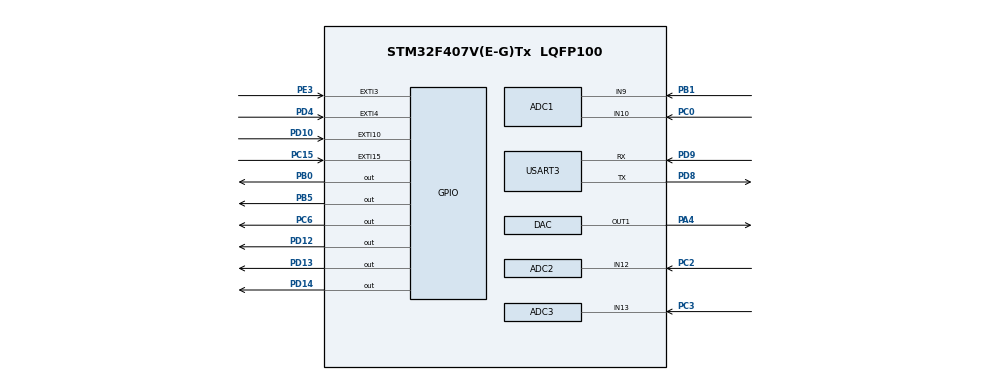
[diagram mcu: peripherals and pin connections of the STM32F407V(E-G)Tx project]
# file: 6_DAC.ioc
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ADC1.Channel-4\#ChannelRegularConversion=ADC_CHANNEL_9
ADC1.Channel-5\#ChannelRegularConversion=ADC_CHANNEL_10
ADC1.ContinuousConvMode=DISABLE
ADC1.DiscontinuousConvMode=ENABLE
ADC1.NbrOfConversion=2
ADC1.NbrOfConversionFlag=1
ADC1.Rank-4\#ChannelRegularConversion=1
ADC1.Rank-5\#ChannelRegularConversion=2
ADC1.SamplingTime-4\#ChannelRegularConversion=ADC_SAMPLETIME_15CYCLES
ADC1.SamplingTime-5\#ChannelRegularConversion=ADC_SAMPLETIME_15CYCLES
ADC1.ScanConvMode=ENABLE
ADC1.master=1
ADC2.Channel-0\#ChannelRegularConversion=ADC_CHANNEL_12
ADC2.DiscontinuousConvMode=ENABLE
ADC2.NbrOfConversionFlag=1
ADC2.Rank-0\#ChannelRegularConversion=1
ADC2.SamplingTime-0\#ChannelRegularConversion=ADC_SAMPLETIME_15CYCLES
ADC2.ScanConvMode=ENABLE
ADC3.Channel-2\#ChannelRegularConversion=ADC_CHANNEL_13
ADC3.ContinuousConvMode=ENABLE
ADC3.DMAContinuousRequests=ENABLE
ADC3.EOCSelection=ADC_EOC_SEQ_CONV
ADC3.NbrOfConversionFlag=1
ADC3.Rank-2\#ChannelRegularConversion=1
ADC3.SamplingTime-2\#ChannelRegularConversion=ADC_SAMPLETIME_84CYCLES
ADC3.ScanConvMode=ENABLE
Dma.ADC3.1.Direction=DMA_PERIPH_TO_MEMORY
Dma.ADC3.1.FIFOMode=DMA_FIFOMODE_DISABLE
Dma.ADC3.1.Instance=DMA2_Stream0
Dma.ADC3.1.MemDataAlignment=DMA_MDATAALIGN_HALFWORD
Dma.ADC3.1.MemInc=DMA_MINC_ENABLE
Dma.ADC3.1.Mode=DMA_CIRCULAR
Dma.ADC3.1.PeriphDataAlignment=DMA_PDATAALIGN_HALFWORD
Dma.ADC3.1.PeriphInc=DMA_PINC_DISABLE
Dma.ADC3.1.Priority=DMA_PRIORITY_LOW
Dma.Request0=USART3_RX
Dma.Request1=ADC3
Dma.USART3_RX.0.Direction=DMA_PERIPH_TO_MEMORY
Dma.USART3_RX.0.FIFOMode=DMA_FIFOMODE_DISABLE
Dma.USART3_RX.0.Instance=DMA1_Stream1
Dma.USART3_RX.0.MemDataAlignment=DMA_MDATAALIGN_BYTE
Dma.USART3_RX.0.MemInc=DMA_MINC_ENABLE
Dma.USART3_RX.0.Mode=DMA_NORMAL
Dma.USART3_RX.0.PeriphDataAlignment=DMA_PDATAALIGN_BYTE
Dma.USART3_RX.0.PeriphInc=DMA_PINC_DISABLE
Dma.USART3_RX.0.Priority=DMA_PRIORITY_LOW
Mcu.Family=STM32F4
Mcu.Name=STM32F407V(E-G)Tx
Mcu.Package=LQFP100
NVIC.ADC_IRQn=true\:0\:0\:false\:false\:true\:true\:true\:true
NVIC.DMA1_Stream1_IRQn=true\:0\:0\:false\:false\:true\:false\:true\:true
NVIC.DMA2_Stream0_IRQn=true\:0\:0\:false\:false\:true\:false\:true\:true
NVIC.EXTI15_10_IRQn=true\:0\:0\:false\:false\:true\:true\:true\:true
NVIC.EXTI3_IRQn=true\:0\:0\:false\:false\:true\:true\:true\:true
NVIC.EXTI4_IRQn=true\:0\:0\:false\:false\:true\:true\:true\:true
NVIC.PriorityGroup=NVIC_PRIORITYGROUP_4
NVIC.TIM2_IRQn=true\:0\:0\:false\:false\:true\:true\:true\:true
NVIC.TIM7_IRQn=true\:0\:0\:false\:false\:true\:true\:true\:true
NVIC.USART3_IRQn=true\:0\:0\:false\:false\:true\:true\:true\:true
PA4.Signal=COMP_DAC1_group
PB0.PinState=GPIO_PIN_SET
PB0.Signal=GPIO_Output
PB1.Signal=ADCx_IN9
PB5.PinState=GPIO_PIN_SET
PB5.Signal=GPIO_Output
PC0.Signal=ADCx_IN10
PC15-OSC32_OUT.Signal=GPXTI15
PC2.Signal=ADCx_IN12
PC3.Signal=ADCx_IN13
PC6.PinState=GPIO_PIN_SET
PC6.Signal=GPIO_Output
PD10.Signal=GPXTI10
PD12.PinState=GPIO_PIN_SET
PD12.Signal=GPIO_Output
PD13.PinState=GPIO_PIN_SET
PD13.Signal=GPIO_Output
PD14.PinState=GPIO_PIN_SET
PD14.Signal=GPIO_Output
PD4.Signal=GPXTI4
PD8.Mode=Asynchronous
PD8.Signal=USART3_TX
PD9.Mode=Asynchronous
PD9.Signal=USART3_RX
PE3.Signal=GPXTI3
PH0-OSC_IN.Mode=HSE-External-Oscillator
PH0-OSC_IN.Signal=RCC_OSC_IN
PH1-OSC_OUT.Mode=HSE-External-Oscillator
PH1-OSC_OUT.Signal=RCC_OSC_OUT
ProjectManager.HeapSize=0x200
ProjectManager.StackSize=0x400
ProjectManager.TargetToolchain=CMake
RCC.48MHZClocksFreq_Value=84000000
RCC.AHBFreq_Value=168000000
RCC.APB1CLKDivider=RCC_HCLK_DIV4
RCC.APB1Freq_Value=42000000
RCC.APB1TimFreq_Value=84000000
RCC.APB2CLKDivider=RCC_HCLK_DIV2
RCC.APB2Freq_Value=84000000
RCC.APB2TimFreq_Value=168000000
RCC.CortexFreq_Value=168000000
RCC.HCLKFreq_Value=168000000
RCC.HSE_VALUE=8000000
RCC.HSI_VALUE=16000000
RCC.LSE_VALUE=32768
RCC.PLLM=4
RCC.PLLN=168
RCC.PLLSourceVirtual=RCC_PLLSOURCE_HSE
RCC.SYSCLKFreq_VALUE=168000000
RCC.SYSCLKSource=RCC_SYSCLKSOURCE_PLLCLK
RCC.VCOOutputFreq_Value=336000000
SH.ADCx_IN10.0=ADC1_IN10,IN10
SH.ADCx_IN12.0=ADC2_IN12,IN12
SH.ADCx_IN13.0=ADC3_IN13,IN13
SH.ADCx_IN9.0=ADC1_IN9,IN9
SH.COMP_DAC1_group.0=DAC_OUT1,DAC_OUT1
TIM2.Period=83
TIM2.Prescaler=0
TIM7.AutoReloadPreload=TIM_AUTORELOAD_PRELOAD_DISABLE
TIM7.Period=9999
TIM7.Prescaler=839
USART3.VirtualMode=VM_ASYNC
VP_TIM2_VS_ClockSourceINT.Mode=Internal
VP_TIM7_VS_ClockSourceINT.Mode=Enable_Timer
board=custom

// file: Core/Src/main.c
/* USER CODE BEGIN Header */
/**
 ******************************************************************************
 * @file           : main.c
 * @brief          : Main program body
 ******************************************************************************
 * @attention
 *
 * Copyright (c) 2024 STMicroelectronics.
 * All rights reserved.
 *
 * This software is licensed under terms that can be found in the LICENSE file
 * in the root directory of this software component.
 * If no LICENSE file comes with this software, it is provided AS-IS.
 *
 ******************************************************************************
 */
/* USER CODE END Header */
#include "main.h"

/* USER CODE BEGIN Includes */
#include <math.h>
/* USER CODE END Includes */

/* USER CODE BEGIN PD */
#define PI 3.141592
#define SAMPLES 1000000.0
#define MAX_X SAMPLES / 2 - 1
/* USER CODE END PD */

/* USER CODE BEGIN PV */
uint8_t tim2_update = 0;

uint16_t adc3_val[1];
/* USER CODE END PV */

void SystemClock_Config(void);
static void MX_GPIO_Init(void);
static void MX_DMA_Init(void);
static void MX_USART3_UART_Init(void);
static void MX_TIM7_Init(void);
static void MX_TIM2_Init(void);
static void MX_ADC1_Init(void);
static void MX_ADC2_Init(void);
static void MX_ADC3_Init(void);
static void MX_DAC_Init(void);

int main(void) {

  /* MCU Configuration--------------------------------------------------------*/

  /* Reset of all peripherals, Initializes the Flash interface and the Systick.
   */
  LL_APB2_GRP1_EnableClock(LL_APB2_GRP1_PERIPH_SYSCFG);
  LL_APB1_GRP1_EnableClock(LL_APB1_GRP1_PERIPH_PWR);

  /* System interrupt init*/
  NVIC_SetPriorityGrouping(NVIC_PRIORITYGROUP_4);

  /* SysTick_IRQn interrupt configuration */
  NVIC_SetPriority(SysTick_IRQn,
                   NVIC_EncodePriority(NVIC_GetPriorityGrouping(), 15, 0));

  /* Configure the system clock */
  SystemClock_Config();

  /* Initialize all configured peripherals */
  MX_GPIO_Init();
  MX_DMA_Init();
  MX_USART3_UART_Init();
  MX_TIM7_Init();
  MX_TIM2_Init();
  MX_ADC1_Init();
  MX_ADC2_Init();
  MX_ADC3_Init();
  MX_DAC_Init();
  /* USER CODE BEGIN 2 */
  //= ADC DMA code
  LL_DMA_ConfigAddresses(
      DMA2, LL_DMA_STREAM_0,
      LL_ADC_DMA_GetRegAddr(ADC3, LL_ADC_DMA_REG_REGULAR_DATA),
      (uint32_t)adc3_val, LL_DMA_DIRECTION_PERIPH_TO_MEMORY);

  LL_DMA_SetDataLength(DMA2, LL_DMA_STREAM_0, 1);
  LL_DMA_EnableIT_TC(DMA2, LL_DMA_STREAM_0);
  LL_DMA_EnableStream(DMA2, LL_DMA_STREAM_0);
  LL_ADC_Enable(ADC3);
  LL_ADC_REG_StartConversionSWStart(ADC3);

  //= DAC code
  LL_DAC_Enable(DAC, LL_DAC_CHANNEL_1);

  LL_TIM_EnableIT_UPDATE(TIM2);
  LL_TIM_EnableCounter(TIM2);

  float x = 0;
  uint16_t cnt = 0;
  uint32_t sin_point = 0;
  /* USER CODE END 2 */

  /* Infinite loop */
  /* USER CODE BEGIN WHILE */
  while (1) {
    //= frequency = 1ms * x (x < (samples / 2), ex) 1000 sample => x < 500)
    x = (float)adc3_val[0] / 4096.0 * MAX_X;

    if (tim2_update) {
      sin_point = (uint32_t)rint(sinf((2 * PI * x * cnt / SAMPLES) + 1) * 2048);
      sin_point = sin_point < 4096 ? sin_point : 4095;

      LL_DAC_ConvertData12RightAligned(DAC, LL_DAC_CHANNEL_1, sin_point);
      cnt++;
      if (cnt > 999) cnt = 0;
    }
    /* USER CODE END WHILE */

  }
}

void SystemClock_Config(void) {
  LL_FLASH_SetLatency(LL_FLASH_LATENCY_5);
  while (LL_FLASH_GetLatency() != LL_FLASH_LATENCY_5) {
  }
  LL_PWR_SetRegulVoltageScaling(LL_PWR_REGU_VOLTAGE_SCALE1);
  LL_RCC_HSE_Enable();

  /* Wait till HSE is ready */
  while (LL_RCC_HSE_IsReady() != 1) {
  }
  LL_RCC_PLL_ConfigDomain_SYS(LL_RCC_PLLSOURCE_HSE, LL_RCC_PLLM_DIV_4, 168,
                              LL_RCC_PLLP_DIV_2);
  LL_RCC_PLL_Enable();

  /* Wait till PLL is ready */
  while (LL_RCC_PLL_IsReady() != 1) {
  }
  while (LL_PWR_IsActiveFlag_VOS() == 0) {
  }
  LL_RCC_SetAHBPrescaler(LL_RCC_SYSCLK_DIV_1);
  LL_RCC_SetAPB1Prescaler(LL_RCC_APB1_DIV_4);
  LL_RCC_SetAPB2Prescaler(LL_RCC_APB2_DIV_2);
  LL_RCC_SetSysClkSource(LL_RCC_SYS_CLKSOURCE_PLL);

  /* Wait till System clock is ready */
  while (LL_RCC_GetSysClkSource() != LL_RCC_SYS_CLKSOURCE_STATUS_PLL) {
  }
  LL_Init1msTick(168000000);
  LL_SetSystemCoreClock(168000000);
}

static void MX_ADC1_Init(void) {

  LL_ADC_InitTypeDef ADC_InitStruct = {0};
  LL_ADC_REG_InitTypeDef ADC_REG_InitStruct = {0};
  LL_ADC_CommonInitTypeDef ADC_CommonInitStruct = {0};

  LL_GPIO_InitTypeDef GPIO_InitStruct = {0};

  /* Peripheral clock enable */
  LL_APB2_GRP1_EnableClock(LL_APB2_GRP1_PERIPH_ADC1);

  LL_AHB1_GRP1_EnableClock(LL_AHB1_GRP1_PERIPH_GPIOC);
  LL_AHB1_GRP1_EnableClock(LL_AHB1_GRP1_PERIPH_GPIOB);
  /**ADC1 GPIO Configuration
  PC0   ------> ADC1_IN10
  PB1   ------> ADC1_IN9
  */
  GPIO_InitStruct.Pin = LL_GPIO_PIN_0;
  GPIO_InitStruct.Mode = LL_GPIO_MODE_ANALOG;
  GPIO_InitStruct.Pull = LL_GPIO_PULL_NO;
  LL_GPIO_Init(GPIOC, &GPIO_InitStruct);

  GPIO_InitStruct.Pin = LL_GPIO_PIN_1;
  GPIO_InitStruct.Mode = LL_GPIO_MODE_ANALOG;
  GPIO_InitStruct.Pull = LL_GPIO_PULL_NO;
  LL_GPIO_Init(GPIOB, &GPIO_InitStruct);

  /* ADC1 interrupt Init */
  NVIC_SetPriority(ADC_IRQn,
                   NVIC_EncodePriority(NVIC_GetPriorityGrouping(), 0, 0));
  NVIC_EnableIRQ(ADC_IRQn);

  /** Common config
   */
  ADC_InitStruct.Resolution = LL_ADC_RESOLUTION_12B;
  ADC_InitStruct.DataAlignment = LL_ADC_DATA_ALIGN_RIGHT;
  ADC_InitStruct.SequencersScanMode = LL_ADC_SEQ_SCAN_ENABLE;
  LL_ADC_Init(ADC1, &ADC_InitStruct);
  ADC_REG_InitStruct.TriggerSource = LL_ADC_REG_TRIG_SOFTWARE;
  ADC_REG_InitStruct.SequencerLength = LL_ADC_REG_SEQ_SCAN_ENABLE_2RANKS;
  ADC_REG_InitStruct.SequencerDiscont = LL_ADC_REG_SEQ_DISCONT_1RANK;
  ADC_REG_InitStruct.ContinuousMode = LL_ADC_REG_CONV_SINGLE;
  ADC_REG_InitStruct.DMATransfer = LL_ADC_REG_DMA_TRANSFER_NONE;
  LL_ADC_REG_Init(ADC1, &ADC_REG_InitStruct);
  LL_ADC_REG_SetFlagEndOfConversion(ADC1, LL_ADC_REG_FLAG_EOC_UNITARY_CONV);
  ADC_CommonInitStruct.CommonClock = LL_ADC_CLOCK_SYNC_PCLK_DIV4;
  ADC_CommonInitStruct.Multimode = LL_ADC_MULTI_INDEPENDENT;
  LL_ADC_CommonInit(__LL_ADC_COMMON_INSTANCE(ADC1), &ADC_CommonInitStruct);

  /** Configure Regular Channel
   */
  LL_ADC_REG_SetSequencerRanks(ADC1, LL_ADC_REG_RANK_1, LL_ADC_CHANNEL_9);
  LL_ADC_SetChannelSamplingTime(ADC1, LL_ADC_CHANNEL_9,
                                LL_ADC_SAMPLINGTIME_15CYCLES);

  /** Configure Regular Channel
   */
  LL_ADC_REG_SetSequencerRanks(ADC1, LL_ADC_REG_RANK_2, LL_ADC_CHANNEL_10);
  LL_ADC_SetChannelSamplingTime(ADC1, LL_ADC_CHANNEL_10,
                                LL_ADC_SAMPLINGTIME_15CYCLES);
}

static void MX_ADC2_Init(void) {

  LL_ADC_InitTypeDef ADC_InitStruct = {0};
  LL_ADC_REG_InitTypeDef ADC_REG_InitStruct = {0};

  LL_GPIO_InitTypeDef GPIO_InitStruct = {0};

  /* Peripheral clock enable */
  LL_APB2_GRP1_EnableClock(LL_APB2_GRP1_PERIPH_ADC2);

  LL_AHB1_GRP1_EnableClock(LL_AHB1_GRP1_PERIPH_GPIOC);
  /**ADC2 GPIO Configuration
  PC2   ------> ADC2_IN12
  */
  GPIO_InitStruct.Pin = LL_GPIO_PIN_2;
  GPIO_InitStruct.Mode = LL_GPIO_MODE_ANALOG;
  GPIO_InitStruct.Pull = LL_GPIO_PULL_NO;
  LL_GPIO_Init(GPIOC, &GPIO_InitStruct);

  /* ADC2 interrupt Init */
  NVIC_SetPriority(ADC_IRQn,
                   NVIC_EncodePriority(NVIC_GetPriorityGrouping(), 0, 0));
  NVIC_EnableIRQ(ADC_IRQn);

  /** Common config
   */
  ADC_InitStruct.Resolution = LL_ADC_RESOLUTION_12B;
  ADC_InitStruct.DataAlignment = LL_ADC_DATA_ALIGN_RIGHT;
  ADC_InitStruct.SequencersScanMode = LL_ADC_SEQ_SCAN_ENABLE;
  LL_ADC_Init(ADC2, &ADC_InitStruct);
  ADC_REG_InitStruct.TriggerSource = LL_ADC_REG_TRIG_SOFTWARE;
  ADC_REG_InitStruct.SequencerLength = LL_ADC_REG_SEQ_SCAN_DISABLE;
  ADC_REG_InitStruct.SequencerDiscont = LL_ADC_REG_SEQ_DISCONT_1RANK;
  ADC_REG_InitStruct.ContinuousMode = LL_ADC_REG_CONV_SINGLE;
  ADC_REG_InitStruct.DMATransfer = LL_ADC_REG_DMA_TRANSFER_NONE;
  LL_ADC_REG_Init(ADC2, &ADC_REG_InitStruct);
  LL_ADC_REG_SetFlagEndOfConversion(ADC2, LL_ADC_REG_FLAG_EOC_UNITARY_CONV);

  /** Configure Regular Channel
   */
  LL_ADC_REG_SetSequencerRanks(ADC2, LL_ADC_REG_RANK_1, LL_ADC_CHANNEL_12);
  LL_ADC_SetChannelSamplingTime(ADC2, LL_ADC_CHANNEL_12,
                                LL_ADC_SAMPLINGTIME_15CYCLES);
}

static void MX_ADC3_Init(void) {

  LL_ADC_InitTypeDef ADC_InitStruct = {0};
  LL_ADC_REG_InitTypeDef ADC_REG_InitStruct = {0};

  LL_GPIO_InitTypeDef GPIO_InitStruct = {0};

  /* Peripheral clock enable */
  LL_APB2_GRP1_EnableClock(LL_APB2_GRP1_PERIPH_ADC3);

  LL_AHB1_GRP1_EnableClock(LL_AHB1_GRP1_PERIPH_GPIOC);
  /**ADC3 GPIO Configuration
  PC3   ------> ADC3_IN13
  */
  GPIO_InitStruct.Pin = LL_GPIO_PIN_3;
  GPIO_InitStruct.Mode = LL_GPIO_MODE_ANALOG;
  GPIO_InitStruct.Pull = LL_GPIO_PULL_NO;
  LL_GPIO_Init(GPIOC, &GPIO_InitStruct);

  /* ADC3 DMA Init */

  /* ADC3 Init */
  LL_DMA_SetChannelSelection(DMA2, LL_DMA_STREAM_0, LL_DMA_CHANNEL_2);

  LL_DMA_SetDataTransferDirection(DMA2, LL_DMA_STREAM_0,
                                  LL_DMA_DIRECTION_PERIPH_TO_MEMORY);

  LL_DMA_SetStreamPriorityLevel(DMA2, LL_DMA_STREAM_0, LL_DMA_PRIORITY_LOW);

  LL_DMA_SetMode(DMA2, LL_DMA_STREAM_0, LL_DMA_MODE_CIRCULAR);

  LL_DMA_SetPeriphIncMode(DMA2, LL_DMA_STREAM_0, LL_DMA_PERIPH_NOINCREMENT);

  LL_DMA_SetMemoryIncMode(DMA2, LL_DMA_STREAM_0, LL_DMA_MEMORY_INCREMENT);

  LL_DMA_SetPeriphSize(DMA2, LL_DMA_STREAM_0, LL_DMA_PDATAALIGN_HALFWORD);

  LL_DMA_SetMemorySize(DMA2, LL_DMA_STREAM_0, LL_DMA_MDATAALIGN_HALFWORD);

  LL_DMA_DisableFifoMode(DMA2, LL_DMA_STREAM_0);

  /* ADC3 interrupt Init */
  NVIC_SetPriority(ADC_IRQn,
                   NVIC_EncodePriority(NVIC_GetPriorityGrouping(), 0, 0));
  NVIC_EnableIRQ(ADC_IRQn);

  /** Common config
   */
  ADC_InitStruct.Resolution = LL_ADC_RESOLUTION_12B;
  ADC_InitStruct.DataAlignment = LL_ADC_DATA_ALIGN_RIGHT;
  ADC_InitStruct.SequencersScanMode = LL_ADC_SEQ_SCAN_ENABLE;
  LL_ADC_Init(ADC3, &ADC_InitStruct);
  ADC_REG_InitStruct.TriggerSource = LL_ADC_REG_TRIG_SOFTWARE;
  ADC_REG_InitStruct.SequencerLength = LL_ADC_REG_SEQ_SCAN_DISABLE;
  ADC_REG_InitStruct.SequencerDiscont = LL_ADC_REG_SEQ_DISCONT_DISABLE;
  ADC_REG_InitStruct.ContinuousMode = LL_ADC_REG_CONV_CONTINUOUS;
  ADC_REG_InitStruct.DMATransfer = LL_ADC_REG_DMA_TRANSFER_UNLIMITED;
  LL_ADC_REG_Init(ADC3, &ADC_REG_InitStruct);
  LL_ADC_REG_SetFlagEndOfConversion(ADC3, LL_ADC_REG_FLAG_EOC_SEQUENCE_CONV);

  /** Configure Regular Channel
   */
  LL_ADC_REG_SetSequencerRanks(ADC3, LL_ADC_REG_RANK_1, LL_ADC_CHANNEL_13);
  LL_ADC_SetChannelSamplingTime(ADC3, LL_ADC_CHANNEL_13,
                                LL_ADC_SAMPLINGTIME_84CYCLES);
}

static void MX_DAC_Init(void) {

  LL_DAC_InitTypeDef DAC_InitStruct = {0};

  LL_GPIO_InitTypeDef GPIO_InitStruct = {0};

  /* Peripheral clock enable */
  LL_APB1_GRP1_EnableClock(LL_APB1_GRP1_PERIPH_DAC1);

  LL_AHB1_GRP1_EnableClock(LL_AHB1_GRP1_PERIPH_GPIOA);
  /**DAC GPIO Configuration
  PA4   ------> DAC_OUT1
  */
  GPIO_InitStruct.Pin = LL_GPIO_PIN_4;
  GPIO_InitStruct.Mode = LL_GPIO_MODE_ANALOG;
  GPIO_InitStruct.Pull = LL_GPIO_PULL_NO;
  LL_GPIO_Init(GPIOA, &GPIO_InitStruct);

  /** DAC channel OUT1 config
   */
  DAC_InitStruct.TriggerSource = LL_DAC_TRIG_SOFTWARE;
  DAC_InitStruct.WaveAutoGeneration = LL_DAC_WAVE_AUTO_GENERATION_NONE;
  DAC_InitStruct.OutputBuffer = LL_DAC_OUTPUT_BUFFER_ENABLE;
  LL_DAC_Init(DAC, LL_DAC_CHANNEL_1, &DAC_InitStruct);
}

static void MX_TIM2_Init(void) {

  LL_TIM_InitTypeDef TIM_InitStruct = {0};

  /* Peripheral clock enable */
  LL_APB1_GRP1_EnableClock(LL_APB1_GRP1_PERIPH_TIM2);

  /* TIM2 interrupt Init */
  NVIC_SetPriority(TIM2_IRQn,
                   NVIC_EncodePriority(NVIC_GetPriorityGrouping(), 0, 0));
  NVIC_EnableIRQ(TIM2_IRQn);

  TIM_InitStruct.Prescaler = 0;
  TIM_InitStruct.CounterMode = LL_TIM_COUNTERMODE_UP;
  TIM_InitStruct.Autoreload = 83;
  TIM_InitStruct.ClockDivision = LL_TIM_CLOCKDIVISION_DIV1;
  LL_TIM_Init(TIM2, &TIM_InitStruct);
  LL_TIM_DisableARRPreload(TIM2);
  LL_TIM_SetClockSource(TIM2, LL_TIM_CLOCKSOURCE_INTERNAL);
  LL_TIM_SetTriggerOutput(TIM2, LL_TIM_TRGO_RESET);
  LL_TIM_DisableMasterSlaveMode(TIM2);
}

static void MX_TIM7_Init(void) {

  LL_TIM_InitTypeDef TIM_InitStruct = {0};

  /* Peripheral clock enable */
  LL_APB1_GRP1_EnableClock(LL_APB1_GRP1_PERIPH_TIM7);

  /* TIM7 interrupt Init */
  NVIC_SetPriority(TIM7_IRQn,
                   NVIC_EncodePriority(NVIC_GetPriorityGrouping(), 0, 0));
  NVIC_EnableIRQ(TIM7_IRQn);

  TIM_InitStruct.Prescaler = 839;
  TIM_InitStruct.CounterMode = LL_TIM_COUNTERMODE_UP;
  TIM_InitStruct.Autoreload = 9999;
  LL_TIM_Init(TIM7, &TIM_InitStruct);
  LL_TIM_DisableARRPreload(TIM7);
  LL_TIM_SetTriggerOutput(TIM7, LL_TIM_TRGO_RESET);
  LL_TIM_DisableMasterSlaveMode(TIM7);
}

static void MX_USART3_UART_Init(void) {

  LL_USART_InitTypeDef USART_InitStruct = {0};

  LL_GPIO_InitTypeDef GPIO_InitStruct = {0};

  /* Peripheral clock enable */
  LL_APB1_GRP1_EnableClock(LL_APB1_GRP1_PERIPH_USART3);

  LL_AHB1_GRP1_EnableClock(LL_AHB1_GRP1_PERIPH_GPIOD);
  /**USART3 GPIO Configuration
  PD8   ------> USART3_TX
  PD9   ------> USART3_RX
  */
  GPIO_InitStruct.Pin = LL_GPIO_PIN_8 | LL_GPIO_PIN_9;
  GPIO_InitStruct.Mode = LL_GPIO_MODE_ALTERNATE;
  GPIO_InitStruct.Speed = LL_GPIO_SPEED_FREQ_VERY_HIGH;
  GPIO_InitStruct.OutputType = LL_GPIO_OUTPUT_PUSHPULL;
  GPIO_InitStruct.Pull = LL_GPIO_PULL_NO;
  GPIO_InitStruct.Alternate = LL_GPIO_AF_7;
  LL_GPIO_Init(GPIOD, &GPIO_InitStruct);

  /* USART3 DMA Init */

  /* USART3_RX Init */
  LL_DMA_SetChannelSelection(DMA1, LL_DMA_STREAM_1, LL_DMA_CHANNEL_4);

  LL_DMA_SetDataTransferDirection(DMA1, LL_DMA_STREAM_1,
                                  LL_DMA_DIRECTION_PERIPH_TO_MEMORY);

  LL_DMA_SetStreamPriorityLevel(DMA1, LL_DMA_STREAM_1, LL_DMA_PRIORITY_LOW);

  LL_DMA_SetMode(DMA1, LL_DMA_STREAM_1, LL_DMA_MODE_NORMAL);

  LL_DMA_SetPeriphIncMode(DMA1, LL_DMA_STREAM_1, LL_DMA_PERIPH_NOINCREMENT);

  LL_DMA_SetMemoryIncMode(DMA1, LL_DMA_STREAM_1, LL_DMA_MEMORY_INCREMENT);

  LL_DMA_SetPeriphSize(DMA1, LL_DMA_STREAM_1, LL_DMA_PDATAALIGN_BYTE);

  LL_DMA_SetMemorySize(DMA1, LL_DMA_STREAM_1, LL_DMA_MDATAALIGN_BYTE);

  LL_DMA_DisableFifoMode(DMA1, LL_DMA_STREAM_1);

  /* USART3 interrupt Init */
  NVIC_SetPriority(USART3_IRQn,
                   NVIC_EncodePriority(NVIC_GetPriorityGrouping(), 0, 0));
  NVIC_EnableIRQ(USART3_IRQn);

  USART_InitStruct.BaudRate = 115200;
  USART_InitStruct.DataWidth = LL_USART_DATAWIDTH_8B;
  USART_InitStruct.StopBits = LL_USART_STOPBITS_1;
  USART_InitStruct.Parity = LL_USART_PARITY_NONE;
  USART_InitStruct.TransferDirection = LL_USART_DIRECTION_TX_RX;
  USART_InitStruct.HardwareFlowControl = LL_USART_HWCONTROL_NONE;
  USART_InitStruct.OverSampling = LL_USART_OVERSAMPLING_16;
  LL_USART_Init(USART3, &USART_InitStruct);
  LL_USART_ConfigAsyncMode(USART3);
  LL_USART_Enable(USART3);
}

static void MX_DMA_Init(void) {
  /* Init with LL driver */
  /* DMA controller clock enable */
  LL_AHB1_GRP1_EnableClock(LL_AHB1_GRP1_PERIPH_DMA1);
  LL_AHB1_GRP1_EnableClock(LL_AHB1_GRP1_PERIPH_DMA2);

  /* DMA interrupt init */
  /* DMA1_Stream1_IRQn interrupt configuration */
  NVIC_SetPriority(DMA1_Stream1_IRQn,
                   NVIC_EncodePriority(NVIC_GetPriorityGrouping(), 0, 0));
  NVIC_EnableIRQ(DMA1_Stream1_IRQn);
  /* DMA2_Stream0_IRQn interrupt configuration */
  NVIC_SetPriority(DMA2_Stream0_IRQn,
                   NVIC_EncodePriority(NVIC_GetPriorityGrouping(), 0, 0));
  NVIC_EnableIRQ(DMA2_Stream0_IRQn);
}

static void MX_GPIO_Init(void) {
  LL_EXTI_InitTypeDef EXTI_InitStruct = {0};
  LL_GPIO_InitTypeDef GPIO_InitStruct = {0};

  /* GPIO Ports Clock Enable */
  LL_AHB1_GRP1_EnableClock(LL_AHB1_GRP1_PERIPH_GPIOE);
  LL_AHB1_GRP1_EnableClock(LL_AHB1_GRP1_PERIPH_GPIOC);
  LL_AHB1_GRP1_EnableClock(LL_AHB1_GRP1_PERIPH_GPIOH);
  LL_AHB1_GRP1_EnableClock(LL_AHB1_GRP1_PERIPH_GPIOA);
  LL_AHB1_GRP1_EnableClock(LL_AHB1_GRP1_PERIPH_GPIOB);
  LL_AHB1_GRP1_EnableClock(LL_AHB1_GRP1_PERIPH_GPIOD);

  /**/
  LL_GPIO_SetOutputPin(GPIOB, LL_GPIO_PIN_0 | LL_GPIO_PIN_5);

  /**/
  LL_GPIO_SetOutputPin(GPIOD, LL_GPIO_PIN_12 | LL_GPIO_PIN_13 | LL_GPIO_PIN_14);

  /**/
  LL_GPIO_SetOutputPin(GPIOC, LL_GPIO_PIN_6);

  /**/
  LL_SYSCFG_SetEXTISource(LL_SYSCFG_EXTI_PORTE, LL_SYSCFG_EXTI_LINE3);

  /**/
  LL_SYSCFG_SetEXTISource(LL_SYSCFG_EXTI_PORTC, LL_SYSCFG_EXTI_LINE15);

  /**/
  LL_SYSCFG_SetEXTISource(LL_SYSCFG_EXTI_PORTD, LL_SYSCFG_EXTI_LINE10);

  /**/
  LL_SYSCFG_SetEXTISource(LL_SYSCFG_EXTI_PORTD, LL_SYSCFG_EXTI_LINE4);

  /**/
  EXTI_InitStruct.Line_0_31 = LL_EXTI_LINE_3;
  EXTI_InitStruct.LineCommand = ENABLE;
  EXTI_InitStruct.Mode = LL_EXTI_MODE_IT;
  EXTI_InitStruct.Trigger = LL_EXTI_TRIGGER_RISING;
  LL_EXTI_Init(&EXTI_InitStruct);

  /**/
  EXTI_InitStruct.Line_0_31 = LL_EXTI_LINE_15;
  EXTI_InitStruct.LineCommand = ENABLE;
  EXTI_InitStruct.Mode = LL_EXTI_MODE_IT;
  EXTI_InitStruct.Trigger = LL_EXTI_TRIGGER_RISING;
  LL_EXTI_Init(&EXTI_InitStruct);

  /**/
  EXTI_InitStruct.Line_0_31 = LL_EXTI_LINE_10;
  EXTI_InitStruct.LineCommand = ENABLE;
  EXTI_InitStruct.Mode = LL_EXTI_MODE_IT;
  EXTI_InitStruct.Trigger = LL_EXTI_TRIGGER_RISING;
  LL_EXTI_Init(&EXTI_InitStruct);

  /**/
  EXTI_InitStruct.Line_0_31 = LL_EXTI_LINE_4;
  EXTI_InitStruct.LineCommand = ENABLE;
  EXTI_InitStruct.Mode = LL_EXTI_MODE_IT;
  EXTI_InitStruct.Trigger = LL_EXTI_TRIGGER_RISING;
  LL_EXTI_Init(&EXTI_InitStruct);

  /**/
  LL_GPIO_SetPinPull(GPIOE, LL_GPIO_PIN_3, LL_GPIO_PULL_NO);

  /**/
  LL_GPIO_SetPinPull(GPIOC, LL_GPIO_PIN_15, LL_GPIO_PULL_NO);

  /**/
  LL_GPIO_SetPinPull(GPIOD, LL_GPIO_PIN_10, LL_GPIO_PULL_NO);

  /**/
  LL_GPIO_SetPinPull(GPIOD, LL_GPIO_PIN_4, LL_GPIO_PULL_NO);

  /**/
  LL_GPIO_SetPinMode(GPIOE, LL_GPIO_PIN_3, LL_GPIO_MODE_INPUT);

  /**/
  LL_GPIO_SetPinMode(GPIOC, LL_GPIO_PIN_15, LL_GPIO_MODE_INPUT);

  /**/
  LL_GPIO_SetPinMode(GPIOD, LL_GPIO_PIN_10, LL_GPIO_MODE_INPUT);

  /**/
  LL_GPIO_SetPinMode(GPIOD, LL_GPIO_PIN_4, LL_GPIO_MODE_INPUT);

  /**/
  GPIO_InitStruct.Pin = LL_GPIO_PIN_0 | LL_GPIO_PIN_5;
  GPIO_InitStruct.Mode = LL_GPIO_MODE_OUTPUT;
  GPIO_InitStruct.Speed = LL_GPIO_SPEED_FREQ_LOW;
  GPIO_InitStruct.OutputType = LL_GPIO_OUTPUT_PUSHPULL;
  GPIO_InitStruct.Pull = LL_GPIO_PULL_NO;
  LL_GPIO_Init(GPIOB, &GPIO_InitStruct);

  /**/
  GPIO_InitStruct.Pin = LL_GPIO_PIN_12 | LL_GPIO_PIN_13 | LL_GPIO_PIN_14;
  GPIO_InitStruct.Mode = LL_GPIO_MODE_OUTPUT;
  GPIO_InitStruct.Speed = LL_GPIO_SPEED_FREQ_LOW;
  GPIO_InitStruct.OutputType = LL_GPIO_OUTPUT_PUSHPULL;
  GPIO_InitStruct.Pull = LL_GPIO_PULL_NO;
  LL_GPIO_Init(GPIOD, &GPIO_InitStruct);

  /**/
  GPIO_InitStruct.Pin = LL_GPIO_PIN_6;
  GPIO_InitStruct.Mode = LL_GPIO_MODE_OUTPUT;
  GPIO_InitStruct.Speed = LL_GPIO_SPEED_FREQ_LOW;
  GPIO_InitStruct.OutputType = LL_GPIO_OUTPUT_PUSHPULL;
  GPIO_InitStruct.Pull = LL_GPIO_PULL_NO;
  LL_GPIO_Init(GPIOC, &GPIO_InitStruct);

  /* EXTI interrupt init*/
  NVIC_SetPriority(EXTI3_IRQn,
                   NVIC_EncodePriority(NVIC_GetPriorityGrouping(), 0, 0));
  NVIC_EnableIRQ(EXTI3_IRQn);
  NVIC_SetPriority(EXTI4_IRQn,
                   NVIC_EncodePriority(NVIC_GetPriorityGrouping(), 0, 0));
  NVIC_EnableIRQ(EXTI4_IRQn);
  NVIC_SetPriority(EXTI15_10_IRQn,
                   NVIC_EncodePriority(NVIC_GetPriorityGrouping(), 0, 0));
  NVIC_EnableIRQ(EXTI15_10_IRQn);

}

void Error_Handler(void) {
  __disable_irq();
  while (1) {
  }
}

#ifdef USE_FULL_ASSERT
/**
 * @brief  Reports the name of the source file and the source line number
 *         where the assert_param error has occurred.
 * @param  file: pointer to the source file name
 * @param  line: assert_param error line source number
 * @retval None
 */
void assert_failed(uint8_t *file, uint32_t line) {
  /* USER CODE BEGIN 6 */
  /* User can add his own implementation to report the file name and line
     number, ex: printf("Wrong parameters value: file %s on line %d\r\n", file,
     line) */
  /* USER CODE END 6 */
}
#endif /* USE_FULL_ASSERT */
